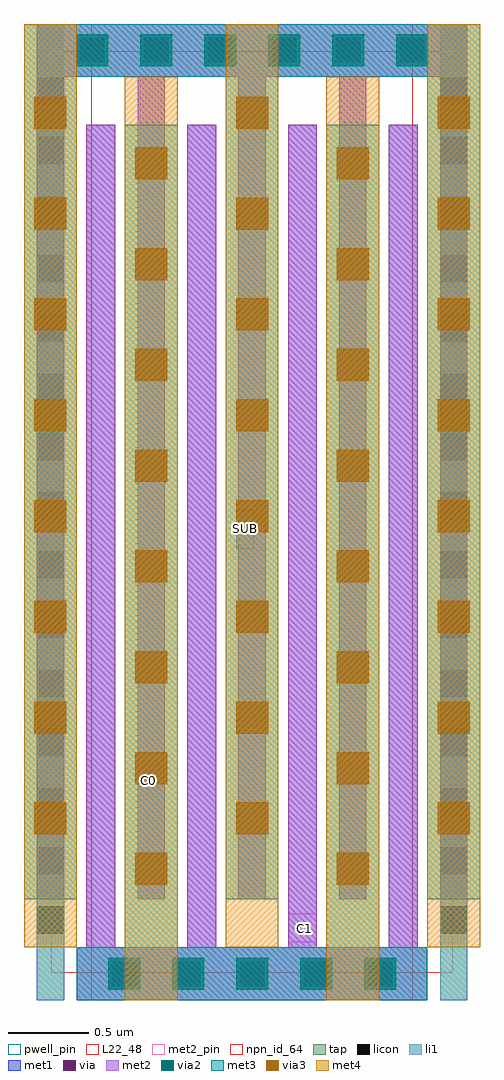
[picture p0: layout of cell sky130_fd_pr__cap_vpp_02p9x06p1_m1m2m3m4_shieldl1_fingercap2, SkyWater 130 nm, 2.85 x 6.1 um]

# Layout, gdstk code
import gdstk
lib = gdstk.Library(unit=1e-6, precision=1e-09)
def R(c, l, rs):  # rectangles x0, y0, x1, y1
    for r in rs: c.add(gdstk.rectangle(r[:2], r[2:], *l))
def A(c, l, x, y, w, h, nx, ny, dx, dy):  # array of equal rectangles
    R(c, l, [(x+i*dx, y+j*dy, x+i*dx+w, y+j*dy+h) for i in range(nx) for j in range(ny)])
L22_48 = (22, 48)
tap = (65, 44)
licon = (66, 44)
li1 = (67, 20)
met1 = (68, 20)
via = (68, 44)
met2_pin = (69, 16)
met2 = (69, 20)
via2 = (69, 44)
met3 = (70, 20)
via3 = (70, 44)
met4 = (71, 20)
npn_id_64 = (82, 64)
pwell_pin = (122, 16)

sky130_fd_pr__cap_vpp_02 = lib.new_cell('sky130_fd_pr__cap_vpp_02p9x06p1_m1m2m3m4_shieldl1_fingercap2')
R(sky130_fd_pr__cap_vpp_02, L22_48, [(0.42,0,2.43,6.1)])
R(sky130_fd_pr__cap_vpp_02, tap, [(0.08,0,0.25,6.1), (2.6,0,2.77,6.1)])
A(sky130_fd_pr__cap_vpp_02, licon, 0.08, 0.415, 0.17, 0.17, 1, 15, 0, 0.37)
A(sky130_fd_pr__cap_vpp_02, licon, 2.6, 0.415, 0.17, 0.17, 1, 15, 0, 0.37)
R(sky130_fd_pr__cap_vpp_02, li1, [(0.08,0,0.25,6.1), (0.08,0,0.25,6.1), (0.08,0,0.25,6.1), (2.6,0,2.77,6.1), (2.6,0,2.77,6.1), (2.6,0,2.77,6.1)])
A(sky130_fd_pr__cap_vpp_02, via, 0.55, 0.09, 0.15, 0.15, 5, 1, 0.4, 0)
A(sky130_fd_pr__cap_vpp_02, via, 0.35, 5.86, 0.15, 0.15, 6, 1, 0.4, 0)
R(sky130_fd_pr__cap_vpp_02, met2_pin, [(1.65,0.36,1.83,0.54), (0.745,1.31,0.84,1.41)])
A(sky130_fd_pr__cap_vpp_02, via2, 0.525, 0.065, 0.2, 0.2, 5, 1, 0.4, 0)
A(sky130_fd_pr__cap_vpp_02, via2, 0.325, 5.835, 0.2, 0.2, 6, 1, 0.4, 0)
A(sky130_fd_pr__cap_vpp_02, via3, 0.695, 0.72, 0.2, 0.2, 1, 8, 0, 0.63)
A(sky130_fd_pr__cap_vpp_02, via3, 1.955, 0.72, 0.2, 0.2, 1, 8, 0, 0.63)
A(sky130_fd_pr__cap_vpp_02, via3, 0.065, 1.035, 0.2, 0.2, 3, 8, 1.26, 0.63)
R(sky130_fd_pr__cap_vpp_02, npn_id_64, [(0.17,0.17,2.68,5.93)])
R(sky130_fd_pr__cap_vpp_02, pwell_pin, [(1.33,2.82,1.435,3.065)])
sky130_fd_pr__cap_vpp_02.add(gdstk.FlexPath([(0.63,0.165),(0.96,0.165)], 0.33, ends="flush", simple_path=True, layer=71, datatype=20))  # met4
sky130_fd_pr__cap_vpp_02.add(gdstk.FlexPath([(1.89,0.165),(2.22,0.165)], 0.33, ends="flush", simple_path=True, layer=71, datatype=20))  # met4
sky130_fd_pr__cap_vpp_02.add(gdstk.FlexPath([(2.055,5.77),(2.055,0.33)], 0.33, ends="flush", simple_path=True, layer=71, datatype=20))  # met4
sky130_fd_pr__cap_vpp_02.add(gdstk.FlexPath([(0.795,5.77),(0.795,0.33)], 0.33, ends="flush", simple_path=True, layer=71, datatype=20))  # met4
sky130_fd_pr__cap_vpp_02.add(gdstk.FlexPath([(2.685,5.77),(2.685,0.33)], 0.33, ends="flush", simple_path=True, layer=71, datatype=20))  # met4
sky130_fd_pr__cap_vpp_02.add(gdstk.FlexPath([(1.425,5.77),(1.425,0.33)], 0.33, ends="flush", simple_path=True, layer=71, datatype=20))  # met4
sky130_fd_pr__cap_vpp_02.add(gdstk.FlexPath([(2.52,5.935),(2.85,5.935)], 0.33, ends="flush", simple_path=True, layer=71, datatype=20))  # met4
sky130_fd_pr__cap_vpp_02.add(gdstk.FlexPath([(0.165,5.77),(0.165,0.33)], 0.33, ends="flush", simple_path=True, layer=71, datatype=20))  # met4
sky130_fd_pr__cap_vpp_02.add(gdstk.FlexPath([(0,5.935),(0.33,5.935)], 0.33, ends="flush", simple_path=True, layer=71, datatype=20))  # met4
sky130_fd_pr__cap_vpp_02.add(gdstk.FlexPath([(1.26,5.935),(1.59,5.935)], 0.33, ends="flush", simple_path=True, layer=71, datatype=20))  # met4
sky130_fd_pr__cap_vpp_02.add(gdstk.FlexPath([(1.425,5.77),(1.425,0.63)], 0.17, ends="flush", simple_path=True, layer=68, datatype=20))  # met1
sky130_fd_pr__cap_vpp_02.add(gdstk.FlexPath([(1.74,5.47),(1.74,0.33)], 0.18, ends="flush", simple_path=True, layer=68, datatype=20))  # met1
sky130_fd_pr__cap_vpp_02.add(gdstk.FlexPath([(2.055,5.77),(2.055,0.63)], 0.17, ends="flush", simple_path=True, layer=68, datatype=20))  # met1
sky130_fd_pr__cap_vpp_02.add(gdstk.FlexPath([(2.37,5.47),(2.37,0.33)], 0.18, ends="flush", simple_path=True, layer=68, datatype=20))  # met1
sky130_fd_pr__cap_vpp_02.add(gdstk.FlexPath([(1.11,5.47),(1.11,0.33)], 0.18, ends="flush", simple_path=True, layer=68, datatype=20))  # met1
sky130_fd_pr__cap_vpp_02.add(gdstk.FlexPath([(0.795,5.77),(0.795,0.63)], 0.17, ends="flush", simple_path=True, layer=68, datatype=20))  # met1
sky130_fd_pr__cap_vpp_02.add(gdstk.FlexPath([(0.48,5.47),(0.48,0.33)], 0.18, ends="flush", simple_path=True, layer=68, datatype=20))  # met1
sky130_fd_pr__cap_vpp_02.add(gdstk.FlexPath([(0.165,5.77),(0.165,0.63)], 0.17, ends="flush", simple_path=True, layer=68, datatype=20))  # met1
sky130_fd_pr__cap_vpp_02.add(gdstk.FlexPath([(0.08,5.935),(2.77,5.935)], 0.33, ends="flush", simple_path=True, layer=68, datatype=20))  # met1
sky130_fd_pr__cap_vpp_02.add(gdstk.FlexPath([(2.685,5.77),(2.685,0.63)], 0.17, ends="flush", simple_path=True, layer=68, datatype=20))  # met1
sky130_fd_pr__cap_vpp_02.add(gdstk.FlexPath([(0.33,0.165),(2.52,0.165)], 0.33, ends="flush", simple_path=True, layer=68, datatype=20))  # met1
sky130_fd_pr__cap_vpp_02.add(gdstk.FlexPath([(0.08,5.935),(2.77,5.935)], 0.33, ends="flush", simple_path=True, layer=69, datatype=20))  # met2
sky130_fd_pr__cap_vpp_02.add(gdstk.FlexPath([(0.33,0.165),(2.52,0.165)], 0.33, ends="flush", simple_path=True, layer=69, datatype=20))  # met2
sky130_fd_pr__cap_vpp_02.add(gdstk.FlexPath([(0.48,5.47),(0.48,0.33)], 0.18, ends="flush", simple_path=True, layer=69, datatype=20))  # met2
sky130_fd_pr__cap_vpp_02.add(gdstk.FlexPath([(0.165,5.77),(0.165,0.63)], 0.17, ends="flush", simple_path=True, layer=69, datatype=20))  # met2
sky130_fd_pr__cap_vpp_02.add(gdstk.FlexPath([(1.11,5.47),(1.11,0.33)], 0.18, ends="flush", simple_path=True, layer=69, datatype=20))  # met2
sky130_fd_pr__cap_vpp_02.add(gdstk.FlexPath([(0.795,5.77),(0.795,0.63)], 0.17, ends="flush", simple_path=True, layer=69, datatype=20))  # met2
sky130_fd_pr__cap_vpp_02.add(gdstk.FlexPath([(1.74,5.47),(1.74,0.33)], 0.18, ends="flush", simple_path=True, layer=69, datatype=20))  # met2
sky130_fd_pr__cap_vpp_02.add(gdstk.FlexPath([(1.425,5.77),(1.425,0.63)], 0.17, ends="flush", simple_path=True, layer=69, datatype=20))  # met2
sky130_fd_pr__cap_vpp_02.add(gdstk.FlexPath([(2.37,5.47),(2.37,0.33)], 0.18, ends="flush", simple_path=True, layer=69, datatype=20))  # met2
sky130_fd_pr__cap_vpp_02.add(gdstk.FlexPath([(2.055,5.77),(2.055,0.63)], 0.17, ends="flush", simple_path=True, layer=69, datatype=20))  # met2
sky130_fd_pr__cap_vpp_02.add(gdstk.FlexPath([(2.685,5.77),(2.685,0.63)], 0.17, ends="flush", simple_path=True, layer=69, datatype=20))  # met2
sky130_fd_pr__cap_vpp_02.add(gdstk.FlexPath([(0.165,5.77),(0.165,0.63)], 0.33, ends="flush", simple_path=True, layer=70, datatype=20))  # met3
sky130_fd_pr__cap_vpp_02.add(gdstk.FlexPath([(2.685,5.77),(2.685,0.63)], 0.33, ends="flush", simple_path=True, layer=70, datatype=20))  # met3
sky130_fd_pr__cap_vpp_02.add(gdstk.FlexPath([(1.425,5.77),(1.425,0.63)], 0.33, ends="flush", simple_path=True, layer=70, datatype=20))  # met3
sky130_fd_pr__cap_vpp_02.add(gdstk.FlexPath([(0.795,5.47),(0.795,0.33)], 0.33, ends="flush", simple_path=True, layer=70, datatype=20))  # met3
sky130_fd_pr__cap_vpp_02.add(gdstk.FlexPath([(2.055,5.47),(2.055,0.33)], 0.33, ends="flush", simple_path=True, layer=70, datatype=20))  # met3
sky130_fd_pr__cap_vpp_02.add(gdstk.FlexPath([(0,5.935),(2.85,5.935)], 0.33, ends="flush", simple_path=True, layer=70, datatype=20))  # met3
sky130_fd_pr__cap_vpp_02.add(gdstk.FlexPath([(0.33,0.165),(2.52,0.165)], 0.33, ends="flush", simple_path=True, layer=70, datatype=20))  # met3
sky130_fd_pr__cap_vpp_02.add(gdstk.Label('C0', (0.78,1.37), layer=69, texttype=5))
sky130_fd_pr__cap_vpp_02.add(gdstk.Label('C1', (1.755,0.45), layer=69, texttype=5))
sky130_fd_pr__cap_vpp_02.add(gdstk.Label('SUB', (1.385,2.945), layer=64, texttype=59))

lib.write_gds('sky130_fd_pr__cap_vpp_02p9x06p1_m1m2m3m4_shieldl1_fingercap2.gds')
